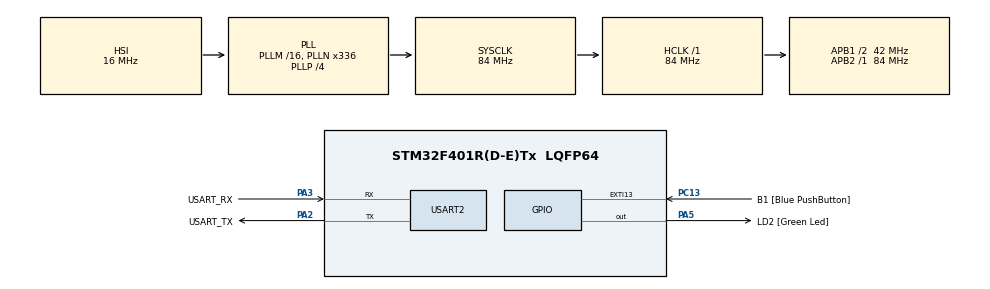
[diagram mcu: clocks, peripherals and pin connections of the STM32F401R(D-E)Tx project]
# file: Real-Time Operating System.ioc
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Mcu.Family=STM32F4
Mcu.Name=STM32F401R(D-E)Tx
Mcu.Package=LQFP64
NVIC.PriorityGroup=NVIC_PRIORITYGROUP_0
PA13.GPIO_Label=TMS
PA13.Mode=Serial_Wire
PA13.Signal=SYS_JTMS-SWDIO
PA14.GPIO_Label=TCK
PA14.Mode=Serial_Wire
PA14.Signal=SYS_JTCK-SWCLK
PA2.GPIO_Label=USART_TX
PA2.GPIO_Mode=GPIO_MODE_AF_PP
PA2.GPIO_PuPd=GPIO_NOPULL
PA2.GPIO_Speed=GPIO_SPEED_FREQ_LOW
PA2.Mode=Asynchronous
PA2.Signal=USART2_TX
PA3.GPIO_Label=USART_RX
PA3.GPIO_Mode=GPIO_MODE_AF_PP
PA3.GPIO_PuPd=GPIO_NOPULL
PA3.GPIO_Speed=GPIO_SPEED_FREQ_LOW
PA3.Mode=Asynchronous
PA3.Signal=USART2_RX
PA5.GPIO_Label=LD2 [Green Led]
PA5.GPIO_Mode=GPIO_MODE_OUTPUT_PP
PA5.GPIO_PuPd=GPIO_NOPULL
PA5.GPIO_Speed=GPIO_SPEED_FREQ_LOW
PA5.Signal=GPIO_Output
PB3.GPIO_Label=SWO
PB3.Signal=SYS_JTDO-SWO
PC13-ANTI_TAMP.GPIO_Label=B1 [Blue PushButton]
PC13-ANTI_TAMP.GPIO_ModeDefaultEXTI=GPIO_MODE_IT_FALLING
PC13-ANTI_TAMP.GPIO_PuPd=GPIO_NOPULL
PC13-ANTI_TAMP.Signal=GPXTI13
PC14-OSC32_IN.Mode=LSE-External-Oscillator
PC14-OSC32_IN.Signal=RCC_OSC32_IN
PC15-OSC32_OUT.Mode=LSE-External-Oscillator
PC15-OSC32_OUT.Signal=RCC_OSC32_OUT
PH0\ -\ OSC_IN.Mode=HSE-External-Clock-Source
PH0\ -\ OSC_IN.Signal=RCC_OSC_IN
PH1\ -\ OSC_OUT.Mode=HSE-External-Clock-Source
PH1\ -\ OSC_OUT.Signal=RCC_OSC_OUT
ProjectManager.HeapSize=0x200
ProjectManager.StackSize=0x400
ProjectManager.TargetToolchain=STM32CubeIDE
RCC.48MHZClocksFreq_Value=48000000
RCC.AHBFreq_Value=84000000
RCC.APB1CLKDivider=RCC_HCLK_DIV2
RCC.APB1Freq_Value=42000000
RCC.APB1TimFreq_Value=84000000
RCC.APB2Freq_Value=84000000
RCC.APB2TimFreq_Value=84000000
RCC.CortexFreq_Value=84000000
RCC.HCLKFreq_Value=84000000
RCC.HSE_VALUE=8000000
RCC.HSI_VALUE=16000000
RCC.PLLN=336
RCC.PLLP=RCC_PLLP_DIV4
RCC.PLLQ=7
RCC.SYSCLKFreq_VALUE=84000000
RCC.SYSCLKSource=RCC_SYSCLKSOURCE_PLLCLK
RCC.VCOOutputFreq_Value=336000000
USART2.VirtualMode=VM_ASYNC
board=NUCLEO-F401RE

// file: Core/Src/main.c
/* USER CODE BEGIN Header */
/**
 ******************************************************************************
 * @file           : main.c
 * @brief          : Main program body
 ******************************************************************************
 * @attention
 *
 * Copyright (c) 2024 STMicroelectronics.
 * All rights reserved.
 *
 * This software is licensed under terms that can be found in the LICENSE file
 * in the root directory of this software component.
 * If no LICENSE file comes with this software, it is provided AS-IS.
 *
 ******************************************************************************
 */
/* USER CODE END Header */
extern void runFirstThread(void);
#include "main.h"
#include <stdio.h>
UART_HandleTypeDef huart2;
void SystemClock_Config(void);
static void MX_GPIO_Init(void);
static void MX_USART2_UART_Init(void);
/* USER CODE BEGIN PFP */
uint32_t* stackptr;
int __io_putchar(int ch)
{
	HAL_UART_Transmit(&huart2,(uint8_t*)&ch,1,HAL_MAX_DELAY);
	return ch;
}
void print_continuously()
{
	while(1)
	{
		printf("Hello,PC!\r\n");
	}
}
void jumpAssembly(void* fcn)
{
__asm("MOV PC, R0");
}
void SVC_Handler_Main( unsigned int *svc_args )
{
	unsigned int svc_number;
/*
* Stack contains:
* r0, r1, r2, r3, r12, r14, the return address and xPSR
* First argument (r0) is svc_args[0]
*/
	svc_number = ( ( char * )svc_args[ 6 ] )[ -2 ] ;
	switch( svc_number )
	{
		case 0:
			printf("call1 success\r\n");
			break;
		case 1:
			printf("call2 success\r\n");
			break;
		case 3:
			__set_PSP(stackptr);
			runFirstThread();
			break;
		case 17: //17 is sort of arbitrarily chosen
			printf("Success!\r\n");
			break;
		default: /* unknown SVC */
			break;
	}
}
void run_first(void)
{
	__asm("SVC #3");
}
void print_success(void)
{
	__asm("SVC #0");
}
void print_failure(void)
{
	__asm("SVC #1");
}
/* USER CODE END PFP */
int main(void)
{
 /* MCU Configuration--------------------------------------------------------*/
 /* Reset of all peripherals, Initializes the Flash interface and the Systick. */
 HAL_Init();
 /* Configure the system clock */
 SystemClock_Config();
 /* Initialize all configured peripherals */
 MX_GPIO_Init();
 MX_USART2_UART_Init();
 /* USER CODE BEGIN 2 */
// printf("Hello, world!\r\n");
 uint32_t* MSP_INIT_VAL = *(uint32_t**)0x0;
 printf("MSP Init is: %p\r\n",MSP_INIT_VAL);
 uint32_t PSP_val = (uint32_t)MSP_INIT_VAL - 0x400;
 //__set_PSP(PSP_val);
 //__set_CONTROL(2);
// print_continuously();
// jumpAssembly((void*)print_continuously);
 //print_success();
 //print_failure();
 stackptr = (uint32_t*)PSP_val;
 *(--stackptr) = 1<<24; //A magic number, this is xPSR
 *(--stackptr) = (uint32_t)print_continuously;
 for(int i = 0; i<14;i++){
 *(--stackptr) = 0xA; //An arbitrary number
 }
 /* USER CODE END 2 */
 __asm("SVC #3");
 /* Infinite loop */
 while (1)
 {
 }
}
void SystemClock_Config(void)
{
 RCC_OscInitTypeDef RCC_OscInitStruct = {0};
 RCC_ClkInitTypeDef RCC_ClkInitStruct = {0};
 /** Configure the main internal regulator output voltage
 */
 __HAL_RCC_PWR_CLK_ENABLE();
 __HAL_PWR_VOLTAGESCALING_CONFIG(PWR_REGULATOR_VOLTAGE_SCALE2);
 /** Initializes the RCC Oscillators according to the specified parameters
 * in the RCC_OscInitTypeDef structure.
 */
 RCC_OscInitStruct.OscillatorType = RCC_OSCILLATORTYPE_HSI;
 RCC_OscInitStruct.HSIState = RCC_HSI_ON;
 RCC_OscInitStruct.HSICalibrationValue = RCC_HSICALIBRATION_DEFAULT;
 RCC_OscInitStruct.PLL.PLLState = RCC_PLL_ON;
 RCC_OscInitStruct.PLL.PLLSource = RCC_PLLSOURCE_HSI;
 RCC_OscInitStruct.PLL.PLLM = 16;
 RCC_OscInitStruct.PLL.PLLN = 336;
 RCC_OscInitStruct.PLL.PLLP = RCC_PLLP_DIV4;
 RCC_OscInitStruct.PLL.PLLQ = 7;
 if (HAL_RCC_OscConfig(&RCC_OscInitStruct) != HAL_OK)
 {
   Error_Handler();
 }
 /** Initializes the CPU, AHB and APB buses clocks
 */
 RCC_ClkInitStruct.ClockType = RCC_CLOCKTYPE_HCLK|RCC_CLOCKTYPE_SYSCLK
                             |RCC_CLOCKTYPE_PCLK1|RCC_CLOCKTYPE_PCLK2;
 RCC_ClkInitStruct.SYSCLKSource = RCC_SYSCLKSOURCE_PLLCLK;
 RCC_ClkInitStruct.AHBCLKDivider = RCC_SYSCLK_DIV1;
 RCC_ClkInitStruct.APB1CLKDivider = RCC_HCLK_DIV2;
 RCC_ClkInitStruct.APB2CLKDivider = RCC_HCLK_DIV1;
 if (HAL_RCC_ClockConfig(&RCC_ClkInitStruct, FLASH_LATENCY_2) != HAL_OK)
 {
   Error_Handler();
 }
}
static void MX_USART2_UART_Init(void)
{
 huart2.Instance = USART2;
 huart2.Init.BaudRate = 115200;
 huart2.Init.WordLength = UART_WORDLENGTH_8B;
 huart2.Init.StopBits = UART_STOPBITS_1;
 huart2.Init.Parity = UART_PARITY_NONE;
 huart2.Init.Mode = UART_MODE_TX_RX;
 huart2.Init.HwFlowCtl = UART_HWCONTROL_NONE;
 huart2.Init.OverSampling = UART_OVERSAMPLING_16;
 if (HAL_UART_Init(&huart2) != HAL_OK)
 {
   Error_Handler();
 }
}
static void MX_GPIO_Init(void)
{
 GPIO_InitTypeDef GPIO_InitStruct = {0};
 /* GPIO Ports Clock Enable */
 __HAL_RCC_GPIOC_CLK_ENABLE();
 __HAL_RCC_GPIOH_CLK_ENABLE();
 __HAL_RCC_GPIOA_CLK_ENABLE();
 __HAL_RCC_GPIOB_CLK_ENABLE();
 /*Configure GPIO pin Output Level */
 HAL_GPIO_WritePin(LD2_GPIO_Port, LD2_Pin, GPIO_PIN_RESET);
 /*Configure GPIO pin : B1_Pin */
 GPIO_InitStruct.Pin = B1_Pin;
 GPIO_InitStruct.Mode = GPIO_MODE_IT_FALLING;
 GPIO_InitStruct.Pull = GPIO_NOPULL;
 HAL_GPIO_Init(B1_GPIO_Port, &GPIO_InitStruct);
 /*Configure GPIO pin : LD2_Pin */
 GPIO_InitStruct.Pin = LD2_Pin;
 GPIO_InitStruct.Mode = GPIO_MODE_OUTPUT_PP;
 GPIO_InitStruct.Pull = GPIO_NOPULL;
 GPIO_InitStruct.Speed = GPIO_SPEED_FREQ_LOW;
 HAL_GPIO_Init(LD2_GPIO_Port, &GPIO_InitStruct);
}
void Error_Handler(void)
{
 __disable_irq();
 while (1)
 {
 }
}
